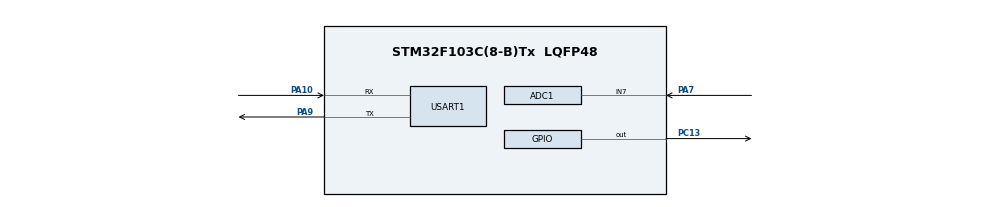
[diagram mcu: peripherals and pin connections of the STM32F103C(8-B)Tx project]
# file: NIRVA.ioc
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ADC1.Channel-0\#ChannelRegularConversion=ADC_CHANNEL_7
ADC1.NbrOfConversionFlag=1
ADC1.Rank-0\#ChannelRegularConversion=1
ADC1.SamplingTime-0\#ChannelRegularConversion=ADC_SAMPLETIME_71CYCLES_5
ADC1.master=1
Mcu.Family=STM32F1
Mcu.Name=STM32F103C(8-B)Tx
Mcu.Package=LQFP48
NVIC.PriorityGroup=NVIC_PRIORITYGROUP_4
PA10.Mode=Asynchronous
PA10.Signal=USART1_RX
PA13.Mode=Serial_Wire
PA13.Signal=SYS_JTMS-SWDIO
PA14.Mode=Serial_Wire
PA14.Signal=SYS_JTCK-SWCLK
PA7.Signal=ADCx_IN7
PA9.Mode=Asynchronous
PA9.Signal=USART1_TX
PC13-TAMPER-RTC.Signal=GPIO_Output
ProjectManager.HeapSize=0x200
ProjectManager.StackSize=0x400
ProjectManager.TargetToolchain=STM32CubeIDE
RCC.APB1Freq_Value=8000000
RCC.APB2Freq_Value=8000000
SH.ADCx_IN7.0=ADC1_IN7,IN7
USART1.VirtualMode=VM_ASYNC
board=custom

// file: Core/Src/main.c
/* USER CODE BEGIN Header */
/**
  ******************************************************************************
  * @file           : main.c
  * @brief          : Main program body
  ******************************************************************************
  * @attention
  *
  * Copyright (c) 2026 STMicroelectronics.
  * All rights reserved.
  *
  * This software is licensed under terms that can be found in the LICENSE file
  * in the root directory of this software component.
  * If no LICENSE file comes with this software, it is provided AS-IS.
  *
  ******************************************************************************
  */
/* USER CODE END Header */
#include "main.h"
#include<stdio.h>
#include<string.h>

ADC_HandleTypeDef hadc1;

UART_HandleTypeDef huart1;

/* USER CODE BEGIN PV */
char msg[96];
/* USER CODE END PV */

void SystemClock_Config(void);
static void MX_GPIO_Init(void);
static void MX_USART1_UART_Init(void);
static void MX_ADC1_Init(void);

/* USER CODE BEGIN 0 */
static uint32_t ReadAdcAveraged(uint32_t samples)
{
    uint32_t sum = 0;
    for (uint32_t i = 0; i < samples; i++)
    {
        HAL_ADC_Start(&hadc1);
        HAL_ADC_PollForConversion(&hadc1, 10);
        sum += HAL_ADC_GetValue(&hadc1);
        HAL_ADC_Stop(&hadc1);
    }
    return sum / samples;
}
/* USER CODE END 0 */

int main(void)
{

  /* MCU Configuration--------------------------------------------------------*/

  /* Reset of all peripherals, Initializes the Flash interface and the Systick. */
  HAL_Init();

  /* Configure the system clock */
  SystemClock_Config();

  /* Initialize all configured peripherals */
  MX_GPIO_Init();
  MX_USART1_UART_Init();
  MX_ADC1_Init();
  /* USER CODE BEGIN 2 */
  HAL_ADCEx_Calibration_Start(&hadc1);
  const char boot[] = "\r\n--- BOOT: LM35 test ---\r\n";
  HAL_UART_Transmit(&huart1, (uint8_t*)boot, strlen(boot), HAL_MAX_DELAY);
  /* USER CODE END 2 */

  /* Infinite loop */
  while (1)
  {
	  /* USER CODE BEGIN 3 */
	    uint32_t raw = ReadAdcAveraged(16);
	    uint32_t mv  = (raw * 3300UL) / 4095UL;

	    int len = snprintf(msg, sizeof(msg),
	        "LM35  raw=%lu  pin=%lu mV  temp=%lu.%lu C\r\n",
	        (unsigned long)raw, (unsigned long)mv,
	        (unsigned long)(mv / 10), (unsigned long)(mv % 10));
	    HAL_UART_Transmit(&huart1, (uint8_t*)msg, len, HAL_MAX_DELAY);

	    HAL_GPIO_TogglePin(GPIOC, GPIO_PIN_13);
	    HAL_Delay(1000);   // 1 reading per second; use 500 for the old speed
	  }
	  /* USER CODE END 3 */
}

void SystemClock_Config(void)
{
  RCC_OscInitTypeDef RCC_OscInitStruct = {0};
  RCC_ClkInitTypeDef RCC_ClkInitStruct = {0};
  RCC_PeriphCLKInitTypeDef PeriphClkInit = {0};

  /** Initializes the RCC Oscillators according to the specified parameters
  * in the RCC_OscInitTypeDef structure.
  */
  RCC_OscInitStruct.OscillatorType = RCC_OSCILLATORTYPE_HSI;
  RCC_OscInitStruct.HSIState = RCC_HSI_ON;
  RCC_OscInitStruct.HSICalibrationValue = RCC_HSICALIBRATION_DEFAULT;
  RCC_OscInitStruct.PLL.PLLState = RCC_PLL_NONE;
  if (HAL_RCC_OscConfig(&RCC_OscInitStruct) != HAL_OK)
  {
    Error_Handler();
  }

  /** Initializes the CPU, AHB and APB buses clocks
  */
  RCC_ClkInitStruct.ClockType = RCC_CLOCKTYPE_HCLK|RCC_CLOCKTYPE_SYSCLK
                              |RCC_CLOCKTYPE_PCLK1|RCC_CLOCKTYPE_PCLK2;
  RCC_ClkInitStruct.SYSCLKSource = RCC_SYSCLKSOURCE_HSI;
  RCC_ClkInitStruct.AHBCLKDivider = RCC_SYSCLK_DIV1;
  RCC_ClkInitStruct.APB1CLKDivider = RCC_HCLK_DIV1;
  RCC_ClkInitStruct.APB2CLKDivider = RCC_HCLK_DIV1;

  if (HAL_RCC_ClockConfig(&RCC_ClkInitStruct, FLASH_LATENCY_0) != HAL_OK)
  {
    Error_Handler();
  }
  PeriphClkInit.PeriphClockSelection = RCC_PERIPHCLK_ADC;
  PeriphClkInit.AdcClockSelection = RCC_ADCPCLK2_DIV2;
  if (HAL_RCCEx_PeriphCLKConfig(&PeriphClkInit) != HAL_OK)
  {
    Error_Handler();
  }
}

static void MX_ADC1_Init(void)
{

  ADC_ChannelConfTypeDef sConfig = {0};

  /** Common config
  */
  hadc1.Instance = ADC1;
  hadc1.Init.ScanConvMode = ADC_SCAN_DISABLE;
  hadc1.Init.ContinuousConvMode = DISABLE;
  hadc1.Init.DiscontinuousConvMode = DISABLE;
  hadc1.Init.ExternalTrigConv = ADC_SOFTWARE_START;
  hadc1.Init.DataAlign = ADC_DATAALIGN_RIGHT;
  hadc1.Init.NbrOfConversion = 1;
  if (HAL_ADC_Init(&hadc1) != HAL_OK)
  {
    Error_Handler();
  }

  /** Configure Regular Channel
  */
  sConfig.Channel = ADC_CHANNEL_7;
  sConfig.Rank = ADC_REGULAR_RANK_1;
  sConfig.SamplingTime = ADC_SAMPLETIME_71CYCLES_5;
  if (HAL_ADC_ConfigChannel(&hadc1, &sConfig) != HAL_OK)
  {
    Error_Handler();
  }

}

static void MX_USART1_UART_Init(void)
{

  huart1.Instance = USART1;
  huart1.Init.BaudRate = 115200;
  huart1.Init.WordLength = UART_WORDLENGTH_8B;
  huart1.Init.StopBits = UART_STOPBITS_1;
  huart1.Init.Parity = UART_PARITY_NONE;
  huart1.Init.Mode = UART_MODE_TX_RX;
  huart1.Init.HwFlowCtl = UART_HWCONTROL_NONE;
  huart1.Init.OverSampling = UART_OVERSAMPLING_16;
  if (HAL_UART_Init(&huart1) != HAL_OK)
  {
    Error_Handler();
  }

}

static void MX_GPIO_Init(void)
{
  GPIO_InitTypeDef GPIO_InitStruct = {0};

  /* GPIO Ports Clock Enable */
  __HAL_RCC_GPIOC_CLK_ENABLE();
  __HAL_RCC_GPIOA_CLK_ENABLE();

  /*Configure GPIO pin Output Level */
  HAL_GPIO_WritePin(GPIOC, GPIO_PIN_13, GPIO_PIN_RESET);

  /*Configure GPIO pin : PC13 */
  GPIO_InitStruct.Pin = GPIO_PIN_13;
  GPIO_InitStruct.Mode = GPIO_MODE_OUTPUT_PP;
  GPIO_InitStruct.Pull = GPIO_NOPULL;
  GPIO_InitStruct.Speed = GPIO_SPEED_FREQ_LOW;
  HAL_GPIO_Init(GPIOC, &GPIO_InitStruct);

}

void Error_Handler(void)
{
  __disable_irq();
  while (1)
  {
  }
}
